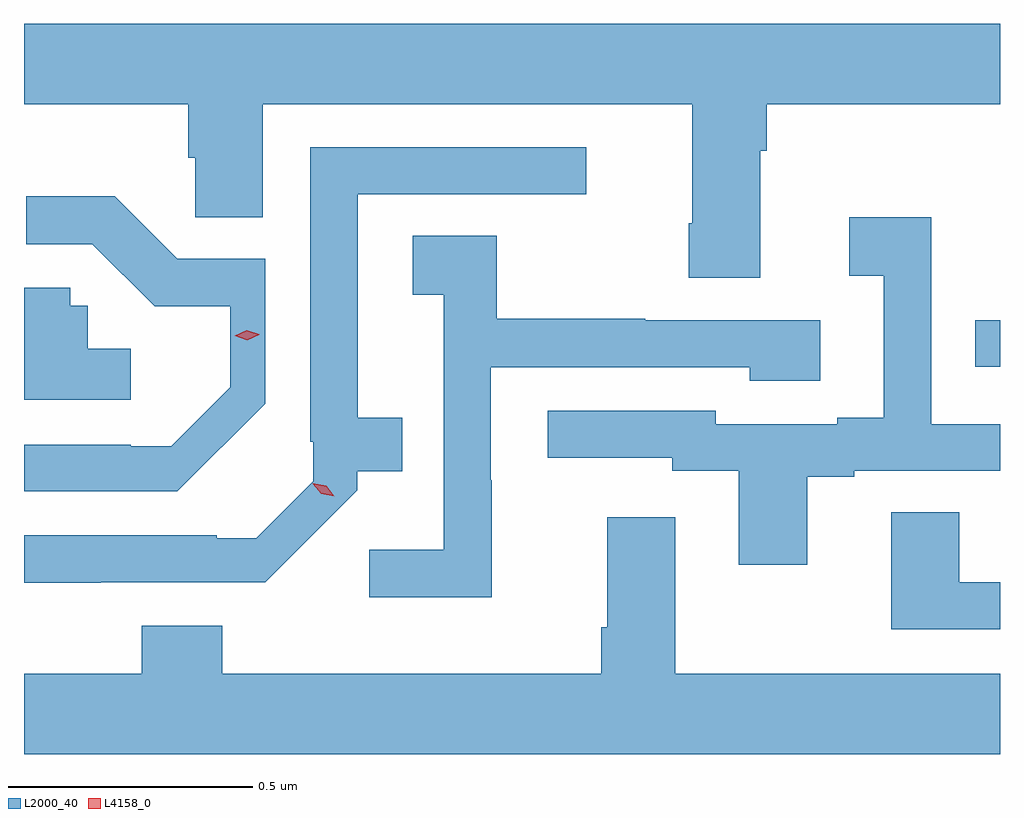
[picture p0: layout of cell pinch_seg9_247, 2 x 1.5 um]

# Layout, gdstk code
import gdstk
lib = gdstk.Library(unit=1e-6, precision=1e-09)
def R(c, l, rs):  # rectangles x0, y0, x1, y1
    for r in rs: c.add(gdstk.rectangle(r[:2], r[2:], *l))
def P(c, l, *ps):  # polygons
    for p in ps: c.add(gdstk.Polygon(p, *l))
L2000_40 = (2000, 40)
L4158_0 = (4158, 0)

pinch_seg9_247 = lib.new_cell('pinch_seg9_247')
R(pinch_seg9_247, L2000_40, [(413.073,1242.502,413.124,1242.597)])
P(pinch_seg9_247, L2000_40, [(412.633,1242.944),(412.646,1242.944),(412.646,1243.04),(413.124,1243.04),(413.124,1243.204),(411.124,1243.204),(411.124,1243.04),(411.461,1243.04),(411.461,1242.93),(411.475,1242.93),(411.475,1242.808),(411.613,1242.808),(411.613,1243.04),(412.493,1243.04),(412.493,1242.796),(412.486,1242.796),(412.486,1242.684),(412.633,1242.684)],
  [(411.281,1242.06),(411.618,1242.06),(411.807,1242.249),(411.807,1242.287),(411.899,1242.287),(411.899,1242.397),(411.808,1242.397),(411.808,1242.855),(412.276,1242.855),(412.276,1242.951),(411.711,1242.951),(411.711,1242.348),(411.717,1242.348),(411.717,1242.267),(411.6,1242.15),(411.519,1242.15),(411.519,1242.156),(411.124,1242.156),(411.124,1242.059),(411.281,1242.059)],
  [(411.618,1242.426),(411.618,1242.723),(411.438,1242.723),(411.31,1242.851),(411.129,1242.851),(411.129,1242.753),(411.264,1242.753),(411.392,1242.626),(411.547,1242.626),(411.547,1242.46),(411.426,1242.339),(411.343,1242.339),(411.343,1242.342),(411.124,1242.342),(411.124,1242.246),(411.438,1242.246)],
  [(412.729,1242.276),(412.825,1242.276),(412.825,1242.288),(413.124,1242.288),(413.124,1242.384),(412.983,1242.384),(412.983,1242.808),(412.815,1242.808),(412.815,1242.688),(412.886,1242.688),(412.886,1242.397),(412.79,1242.397),(412.79,1242.384),(412.542,1242.384),(412.542,1242.411),(412.197,1242.411),(412.197,1242.315),(412.452,1242.315),(412.452,1242.288),(412.589,1242.288),(412.589,1242.096),(412.729,1242.096)],
  [(412.083,1242.269),(412.08,1242.269),(412.08,1242.501),(412.611,1242.501),(412.611,1242.473),(412.756,1242.473),(412.756,1242.597),(412.397,1242.597),(412.397,1242.6),(412.093,1242.6),(412.093,1242.77),(411.921,1242.77),(411.921,1242.649),(411.984,1242.649),(411.984,1242.127),(411.831,1242.127),(411.831,1242.029),(412.083,1242.029)],
  [(411.343,1242.538),(411.255,1242.538),(411.255,1242.627),(411.219,1242.627),(411.219,1242.663),(411.124,1242.663),(411.124,1242.434),(411.343,1242.434)],
  [(413.124,1242.06),(413.041,1242.06),(413.041,1242.203),(412.901,1242.203),(412.901,1241.964),(413.124,1241.964)],
  [(413.124,1241.872),(412.459,1241.872),(412.459,1242.193),(412.319,1242.193),(412.319,1241.968),(412.307,1241.968),(412.307,1241.872),(411.53,1241.872),(411.53,1241.971),(411.365,1241.971),(411.365,1241.872),(411.124,1241.872),(411.124,1241.708),(413.124,1241.708)])
P(pinch_seg9_247, L4158_0, [(411.76,1242.236),(411.733,1242.241),(411.716,1242.262),(411.716,1242.263),(411.716,1242.263),(411.743,1242.258),(411.76,1242.236),(411.76,1242.236)],
  [(411.581,1242.556),(411.556,1242.565),(411.555,1242.565),(411.556,1242.565),(411.58,1242.576),(411.606,1242.568),(411.606,1242.568),(411.606,1242.567)])

lib.write_gds('pinch_seg9_247.gds')
